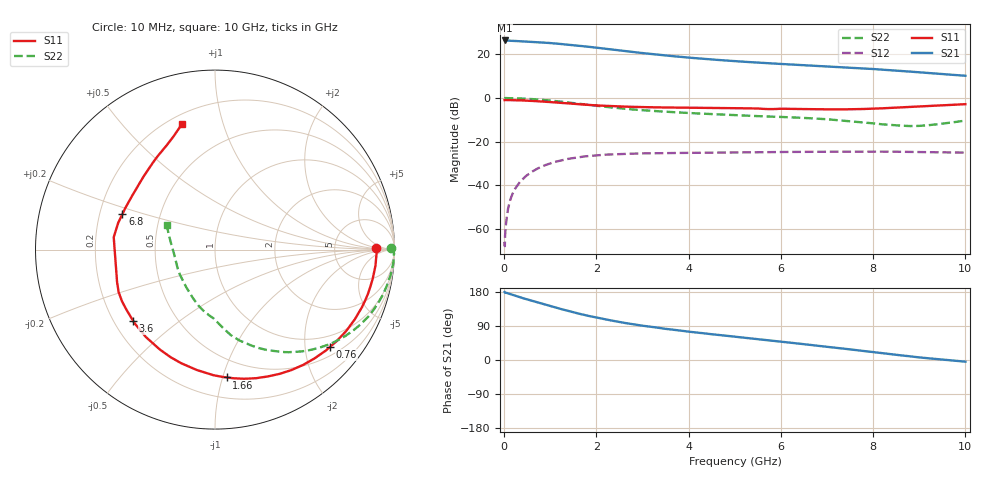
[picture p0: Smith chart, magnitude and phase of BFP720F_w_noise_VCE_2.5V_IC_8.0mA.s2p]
! Infineon Technologies  Discrete & RF Semiconductors
! BFP720F
! VCE =  2.5 V,  IC =  8.0 mA
! Common Emitter S-Parameters:  Jan 2016
# GHz  S  MA  R  50
!  f  S11  S21  S12  S22
! GHz  MAG  ANG  MAG  ANG  MAG  ANG  MAG  ANG
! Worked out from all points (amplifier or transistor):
!   233 points, 10 MHz to 10 GHz, reference 50 ohm
!   highest |S21| = 26.4 dB at 10 MHz (marker M1)
!   |S21| within 3 dB of that: start of sweep to 1.871 GHz
!   unconditionally stable (mu >= 1): start of sweep to 12.6 MHz; 7.093 GHz to end of sweep
!   at 200 MHz: K = 0.05, MSG = 34.6 dB, |S12| = -43.1 dB
!   at 1.74 GHz: K = 0.27, MSG = 25.3 dB, |S12| = -26.8 dB
!   at 10 GHz: K = 1.29, MAG = 14.4 dB, |S12| = -25.0 dB
!   lowest NFmin = 0.50 dB at 450 MHz
!   S11 on the Smith chart (normalised r, x): 10 MHz: 18, +1; 760 MHz: 0.70, -2.57; 1.66 GHz: 0.35, -1.03; 3.6 GHz: 0.28, -0.35; 6.8 GHz: 0.30, +0.17; 10 GHz: 0.25, +0.74
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0.01  0.8967 0.5  20.92 179.2  0.0005 0.3  0.9812 0.6
0.015  0.8987 -0.2  20.78 178.3  0.0004 58.9  0.9896 -0.3
0.02  0.9009 -0.9  20.64 177.4  0.0007 96.4  0.9983 -1.2
0.05  0.8997 -2.7  20.82 177.2  0.0016 85.9  0.9963 -1.7
0.185  0.8939 -9.8  20.46 171.6  0.0065 84.3  0.9918 -6.3
0.42  0.8773 -22.3  19.85 162.7  0.0145 76.9  0.9706 -14.3
0.76  0.8394 -40.2  19 150.5  0.0251 66.4  0.9224 -25.3
1  0.8086 -52.6  18.24 142.2  0.0317 59.4  0.8763 -32.8
1.2  0.7801 -62.6  17.48 135.6  0.0364 54.0  0.8342 -38.7
1.4  0.7521 -72.3  16.7 129.2  0.0405 48.8  0.7902 -44.2
1.66  0.7155 -84.7  15.72 121.2  0.0446 42.7  0.732 -51.0
1.68  0.7131 -85.6  15.64 120.6  0.0449 42.2  0.7274 -51.5
2.14  0.666 -103.7  13.71 108.5  0.0498 33.3  0.6386 -61.5
2.56  0.6388 -117.2  12.13 99.0  0.0522 26.8  0.5747 -68.9
3  0.621 -128.3  10.74 90.5  0.0537 21.9  0.5256 -74.8
3.4  0.6089 -135.7  9.704 84.0  0.0545 18.3  0.4927 -78.5
3.6  0.6047 -139.0  9.252 80.9  0.0548 16.7  0.4783 -80.1
4.1  0.596 -146.1  8.288 73.5  0.0554 13.6  0.4479 -83.2
5.1  0.5841 -157.2  6.907 60.2  0.0566 8.7  0.4013 -88.6
6.8  0.5525 158.9  5.441 37.7  0.0585 1.9  0.3353 -103.6
8.4  0.5958 125.4  4.34 15.2  0.0588 -4.7  0.2406 -144.2
10  0.7229 104.9  3.238 -4.5  0.056 -8.0  0.3037 152.7
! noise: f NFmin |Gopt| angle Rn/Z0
0.45  0.5  0.36  4  0.12
0.9  0.52  0.34  9  0.16
1.8  0.57  0.32  16  0.15
2.4  0.6  0.29  26  0.14
5.5  0.76  0.28  53  0.08
10  0.98  0.26  -98  0.16
